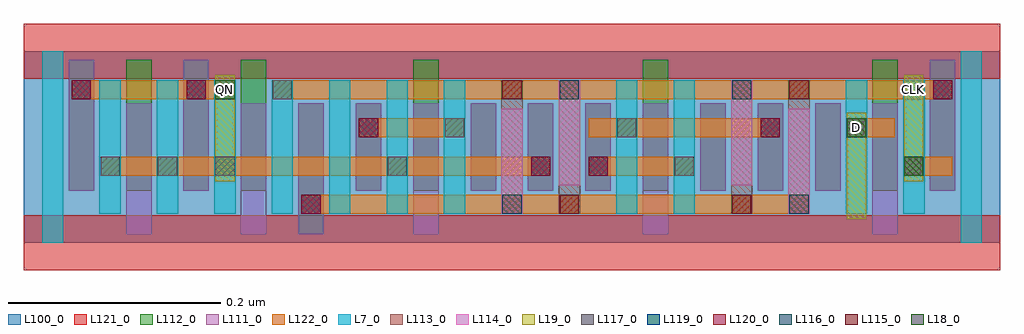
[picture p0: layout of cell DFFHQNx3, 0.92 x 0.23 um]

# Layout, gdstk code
import gdstk
lib = gdstk.Library(unit=1e-6, precision=2.5e-10)
def R(c, l, rs):  # rectangles x0, y0, x1, y1
    for r in rs: c.add(gdstk.rectangle(r[:2], r[2:], *l))
def A(c, l, x, y, w, h, nx, ny, dx, dy):  # array of equal rectangles
    R(c, l, [(x+i*dx, y+j*dy, x+i*dx+w, y+j*dy+h) for i in range(nx) for j in range(ny)])
L7_0 = (7, 0)
L18_0 = (18, 0)
L19_0 = (19, 0)
L100_0 = (100, 0)
L111_0 = (111, 0)
L112_0 = (112, 0)
L113_0 = (113, 0)
L114_0 = (114, 0)
L115_0 = (115, 0)
L116_0 = (116, 0)
L117_0 = (117, 0)
L119_0 = (119, 0)
L120_0 = (120, 0)
L121_0 = (121, 0)
L122_0 = (122, 0)

dffhqnx3 = lib.new_cell('DFFHQNx3')
A(dffhqnx3, L7_0, 0.071, 0.027, 0.02, 0.126, 7, 1, 0.054, 0)
R(dffhqnx3, L7_0, [(0.017,0,0.037,0.18), (0.881,0,0.901,0.18), (0.557,0.027,0.577,0.153), (0.611,0.027,0.631,0.153), (0.773,0.027,0.793,0.153), (0.827,0.027,0.847,0.153)])
R(dffhqnx3, L18_0, [(0.828,0.063,0.846,0.081), (0.774,0.099,0.792,0.117), (0.18,0.135,0.198,0.153)])
R(dffhqnx3, L19_0, [(0.774,0.022,0.792,0.122), (0.18,0.058,0.198,0.158), (0.828,0.058,0.846,0.158)])
R(dffhqnx3, L100_0, [(0,0,0.918,0.18)])
A(dffhqnx3, L111_0, 0.366, 0.008, 0.024, 0.123, 3, 1, 0.216, 0)
A(dffhqnx3, L111_0, 0.42, 0.049, 0.024, 0.082, 3, 1, 0.054, 0)
A(dffhqnx3, L111_0, 0.636, 0.049, 0.024, 0.082, 3, 1, 0.054, 0)
R(dffhqnx3, L111_0, [(0.096,0.008,0.12,0.131), (0.204,0.008,0.228,0.131), (0.258,0.008,0.282,0.131), (0.042,0.049,0.066,0.172), (0.15,0.049,0.174,0.172), (0.312,0.049,0.336,0.131), (0.852,0.049,0.876,0.172)])
A(dffhqnx3, L112_0, 0.042, 0.049, 0.024, 0.123, 4, 1, 0.054, 0)
A(dffhqnx3, L112_0, 0.366, 0.049, 0.024, 0.123, 3, 1, 0.216, 0)
A(dffhqnx3, L112_0, 0.42, 0.049, 0.024, 0.082, 3, 1, 0.054, 0)
A(dffhqnx3, L112_0, 0.636, 0.049, 0.024, 0.082, 3, 1, 0.054, 0)
R(dffhqnx3, L112_0, [(0.258,0.008,0.282,0.131), (0.312,0.049,0.336,0.131), (0.852,0.049,0.876,0.172)])
R(dffhqnx3, L113_0, [(0.449,0.027,0.469,0.153), (0.503,0.027,0.523,0.153), (0.665,0.027,0.685,0.153), (0.719,0.027,0.739,0.153)])
R(dffhqnx3, L114_0, [(0.449,0.027,0.469,0.126), (0.719,0.027,0.739,0.126), (0.503,0.054,0.523,0.153), (0.665,0.054,0.685,0.153)])
R(dffhqnx3, L115_0, [(0.504,0.027,0.522,0.045), (0.666,0.027,0.684,0.045), (0.45,0.135,0.468,0.153), (0.72,0.135,0.738,0.153)])
R(dffhqnx3, L116_0, [(0.45,0.027,0.468,0.045), (0.72,0.027,0.738,0.045), (0.504,0.135,0.522,0.153), (0.666,0.135,0.684,0.153)])
A(dffhqnx3, L117_0, 0.072, 0.063, 0.018, 0.018, 3, 1, 0.054, 0)
R(dffhqnx3, L117_0, [(0.342,0.063,0.36,0.081), (0.612,0.063,0.63,0.081), (0.828,0.063,0.846,0.081), (0.396,0.099,0.414,0.117), (0.558,0.099,0.576,0.117), (0.774,0.099,0.792,0.117), (0.234,0.135,0.252,0.153)])
R(dffhqnx3, L119_0, [(0.261,0.027,0.279,0.045), (0.477,0.063,0.495,0.081), (0.531,0.063,0.549,0.081), (0.315,0.099,0.333,0.117), (0.693,0.099,0.711,0.117), (0.045,0.135,0.063,0.153), (0.153,0.135,0.171,0.153), (0.855,0.135,0.873,0.153)])
R(dffhqnx3, L120_0, [(0.261,0.027,0.279,0.045), (0.477,0.063,0.495,0.081), (0.531,0.063,0.549,0.081), (0.315,0.099,0.333,0.117), (0.693,0.099,0.711,0.117), (0.045,0.135,0.063,0.153), (0.153,0.135,0.171,0.153), (0.855,0.135,0.873,0.153)])
R(dffhqnx3, L121_0, [(0,-0.026,0.918,0.026), (0,0.154,0.918,0.206)])
R(dffhqnx3, L122_0, [(0.261,0.027,0.738,0.045), (0.072,0.063,0.495,0.081), (0.531,0.063,0.63,0.081), (0.828,0.063,0.873,0.081), (0.315,0.099,0.414,0.117), (0.531,0.099,0.711,0.117), (0.774,0.099,0.819,0.117), (0.045,0.135,0.198,0.153), (0.234,0.135,0.873,0.153)])
dffhqnx3.add(gdstk.Label('QN', (0.189,0.144), layer=19, texttype=251))
dffhqnx3.add(gdstk.Label('D', (0.783,0.108), layer=19, texttype=251))
dffhqnx3.add(gdstk.Label('CLK', (0.837,0.144), layer=19, texttype=251))

lib.write_gds('DFFHQNx3.gds')
